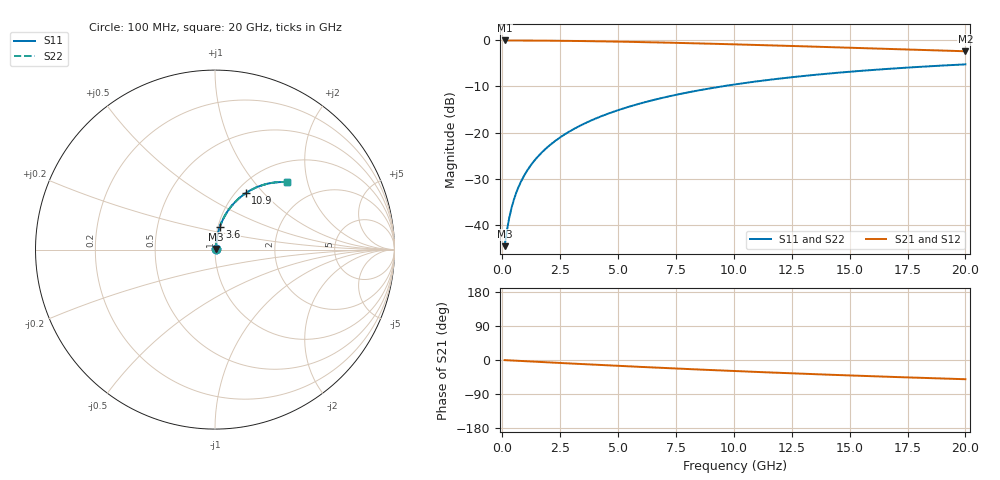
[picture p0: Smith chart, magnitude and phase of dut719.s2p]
! Touchstone file exported from HFSS 2024.1.0
!  File:  C:/UserFiles/LocalFiles/RDL_TSV_Batchsim/temp_RDL_bottom_719_1779858412.aedt
!  Generated:  01:09:15 PM May 27, 2026
!  Design:  RDL_bottom
!  Project:  temp_RDL_bottom_719_1779858412
!  Setup:  Setup1
!  Solution:  Sweep
! Variables:
!  dtsv = 10.80580581um
!  hbump = 3um
!  htsv = 69.08um
!  ldown = 648.09um
!  lrdl = 100um
!  p = 40
!  p1 = 59.87um
!  rhole = 1um
!  t = 450um
!  tdown = 3.87um
!  trdl = 3.915915916um
!  wdown = 12.92um
!  wrdl = 20um
# GHz S MA R 50.000000
! Terminal data exported
! Port[1] = RDL1_T1
! Port[2] = RDL1_T2
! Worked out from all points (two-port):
!   200 points, 100 MHz to 20 GHz, reference 50 ohm
!   highest |S21| = -0.04 dB at 100 MHz (marker M1); lowest = -2.4 dB at 20 GHz (marker M2)
!   |S21| within 3 dB of the highest: start of sweep to end of sweep
!   lowest |S11| = -44.5 dB at 100 MHz (marker M3), VSWR 1.01, Z = 50.5 + j0.371 ohm
!   |S11| at or under -10 dB: start of sweep to 9.46 GHz
!   |S22| runs from -44.5 to -5.2 dB; largest |S21 - S12| = 9.4e-15
!   S11 on the Smith chart (normalised r, x): 100 MHz: 1.01, +0.01; 3.6 GHz: 1.02, +0.26; 10.9 GHz: 1.11, +0.80; 20 GHz: 1.39, +1.50
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0.1  0.005929 38.4  0.9954 -0.3  0.9954 -0.3  0.005929 38.4
! Gamma 0 0 0 0
! Port Impedance 50 0 50 0
0.2  0.008747 57.0  0.9952 -0.6  0.9952 -0.6  0.008747 57.0
0.3  0.01201 65.7  0.9951 -1.0  0.9951 -1.0  0.01201 65.7
0.4  0.01541 70.5  0.9949 -1.3  0.9949 -1.3  0.01541 70.5
0.5  0.01886 73.5  0.9947 -1.6  0.9947 -1.6  0.01886 73.5
0.6  0.02233 75.4  0.9945 -1.9  0.9945 -1.9  0.02233 75.4
0.8  0.02931 77.9  0.9941 -2.5  0.9941 -2.5  0.02931 77.9
1.1  0.03984 79.6  0.9933 -3.5  0.9933 -3.5  0.03984 79.6
1.5  0.05391 80.5  0.992 -4.7  0.992 -4.7  0.05391 80.5
2.1  0.07505 80.5  0.9894 -6.6  0.9894 -6.6  0.07505 80.5
2.7  0.09611 79.8  0.9861 -8.5  0.9861 -8.5  0.09611 79.8
3.5  0.124 78.4  0.9805 -10.9  0.9805 -10.9  0.124 78.4
3.6  0.1275 78.2  0.9797 -11.2  0.9797 -11.2  0.1275 78.2
4.3  0.1516 76.8  0.9738 -13.3  0.9738 -13.3  0.1516 76.8
5  0.1754 75.3  0.967 -15.4  0.967 -15.4  0.1754 75.3
6.8  0.2347 71.1  0.9468 -20.5  0.9468 -20.5  0.2347 71.1
8.3  0.2817 67.6  0.9276 -24.6  0.9276 -24.6  0.2817 67.6
10.1  0.3346 63.4  0.9026 -29.3  0.9026 -29.3  0.3346 63.4
10.9  0.3567 61.5  0.8911 -31.3  0.8911 -31.3  0.3567 61.5
13.4  0.4204 56.0  0.8543 -37.2  0.8543 -37.2  0.4203 56.0
16.7  0.4914 49.3  0.8061 -44.3  0.8061 -44.3  0.4914 49.3
20  0.5487 43.2  0.7604 -50.7  0.7604 -50.7  0.5487 43.2
